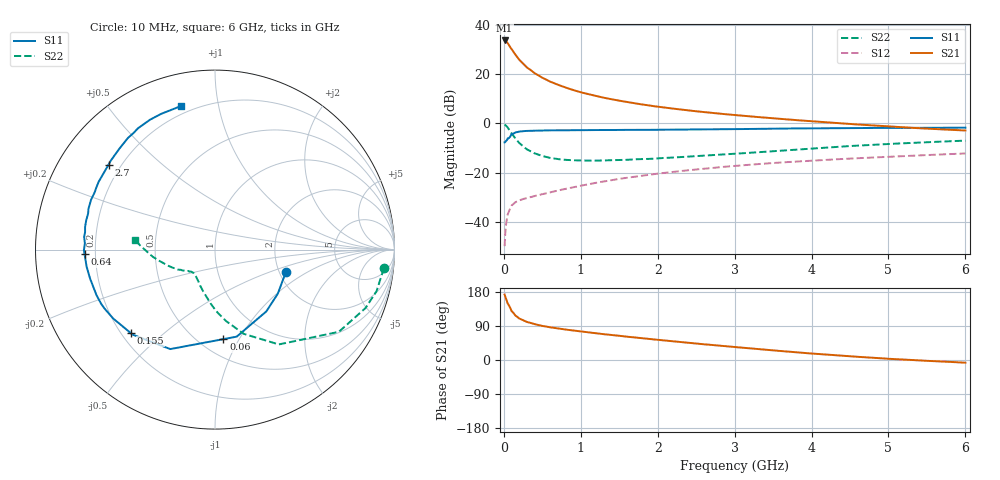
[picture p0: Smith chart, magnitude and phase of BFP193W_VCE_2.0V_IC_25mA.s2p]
! Infineon Technologies  Discrete & RF Semiconductors
! BFP193W
! VCE = 2.0 V,  IC =  25 mA
! Common Emitter S-Parameters:  Jan 2016
# GHz  S  MA  R  50
!  f  S11  S21  S12  S22
! GHz  MAG  ANG  MAG  ANG  MAG  ANG  MAG  ANG
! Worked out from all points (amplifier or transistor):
!   210 points, 10 MHz to 6 GHz, reference 50 ohm
!   highest |S21| = 33.6 dB at 10 MHz (marker M1)
!   |S21| within 3 dB of that: start of sweep to 89.15 MHz
!   unconditionally stable (mu >= 1): 795.7 MHz to 3.972 GHz
!   at 185 MHz: K = 0.39, MSG = 28.9 dB, |S12| = -31.3 dB
!   at 1.52 GHz: K = 1.12, MAG = 13.6 dB, |S12| = -22.3 dB
!   at 6 GHz: K = 0.93, MSG = 4.6 dB, |S12| = -12.1 dB
!   S11 on the Smith chart (normalised r, x): 10 MHz: 2.16, -0.66; 60 MHz: 0.65, -0.86; 155 MHz: 0.24, -0.39; 640 MHz: 0.16, -0.02; 2.7 GHz: 0.15, +0.34; 6 GHz: 0.16, +0.78
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0.01  0.414 -17.8  47.68 172.6  0.0033 83.9  0.9465 -6.3
0.02  0.4276 -35.1  46.98 166.8  0.0064 77.9  0.9295 -14.4
0.03  0.4476 -50.3  45.85 160.7  0.0094 75.1  0.8998 -21.2
0.05  0.4998 -76.0  41.99 149.4  0.0144 64.4  0.8281 -33.6
0.06  0.501 -84.6  39.67 146.3  0.0158 60.5  0.7816 -37.2
0.1  0.6076 -114.2  31.98 129.5  0.0218 50.2  0.6367 -56.1
0.15  0.6596 -134.1  24.5 117.2  0.0255 43.1  0.4962 -71.1
0.155  0.6608 -135.3  23.98 116.6  0.0257 42.8  0.4864 -71.9
0.2  0.6849 -145.9  19.45 109.6  0.0278 40.7  0.4037 -81.1
0.24  0.6976 -151.9  16.75 105.5  0.0292 39.8  0.356 -87.0
0.3  0.7073 -159.0  13.58 100.4  0.031 40.6  0.2996 -94.9
0.4  0.7144 -166.9  10.38 94.4  0.034 41.8  0.2487 -104.3
0.5  0.7216 -172.4  8.401 89.9  0.0372 44.3  0.2201 -111.5
0.64  0.7267 -177.9  6.648 85.2  0.0418 47.6  0.1968 -118.8
1.02  0.7312 171.9  4.19 74.8  0.0558 53.6  0.178 -130.6
1.4  0.7352 164.0  3.085 66.0  0.0713 56.0  0.1805 -136.6
2.02  0.7459 152.6  2.164 52.9  0.0975 55.8  0.1982 -142.8
2.7  0.7589 141.4  1.639 39.8  0.1259 53.0  0.2281 -150.6
3.1  0.7705 135.2  1.433 32.5  0.1423 50.6  0.2495 -155.6
4.1  0.8016 121.2  1.081 15.8  0.1806 43.9  0.3173 -168.7
5.1  0.8137 110.8  0.852 2.2  0.2153 37.4  0.3913 -180.0
6  0.8216 103.5  0.72 -7.1  0.2475 32.0  0.4495 173.0
